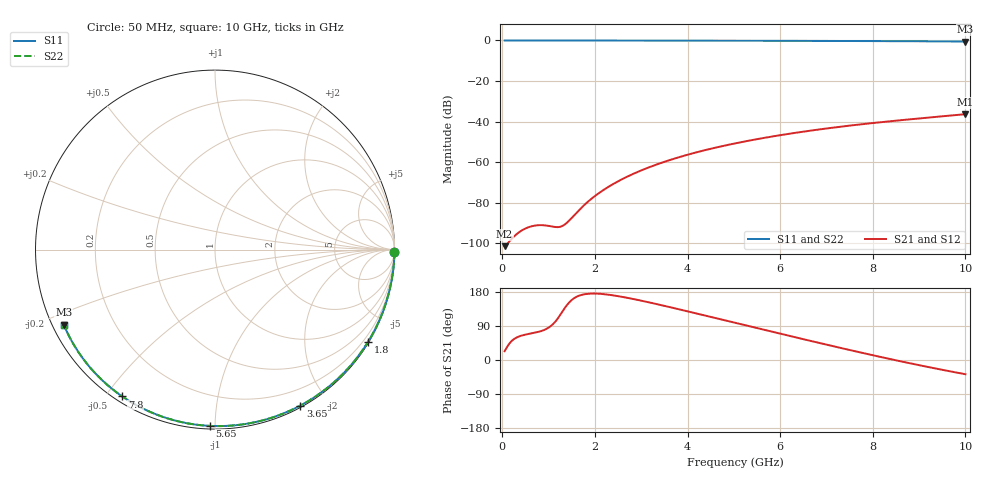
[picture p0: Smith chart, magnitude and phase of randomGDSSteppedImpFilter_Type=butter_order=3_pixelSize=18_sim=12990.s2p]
! freq	dB(S11)	phase(S11)	dB(S12)	phase(S12)
!  dB(S21)	phase(S21)	dB(S22)	phase(S22)
!S-par simulation data
#  GHz  S  DB  R 50
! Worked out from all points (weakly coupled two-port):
!   200 points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, 50 MHz to 10 GHz, reference 50 ohm
!   highest |S21| = -36.35 dB at 10 GHz (marker M1); lowest = -101.4 dB at 50 MHz (marker M2)
!   lowest |S11| = -0.5 dB at 10 GHz (marker M3), VSWR 32.77, Z = 1.61 - j11.7 ohm
!   |S11| at or under -10 dB: nowhere
!   |S22| runs from -0.5 to 0.0 dB; largest |S21 - S12| = 0
!   S11 on the Smith chart (normalised r, x): 50 MHz: open; 1.8 GHz: 0.03, -3.60; 3.65 GHz: 0.02, -1.69; 5.65 GHz: 0.02, -0.97; 7.8 GHz: 0.02, -0.55; 10 GHz: 0.03, -0.23
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0.05  -0.00 -0.9  -101.45 23.2  -101.45 23.2  -0.00 -0.9
0.45  -0.01 -7.9  -93.31 65.6  -93.31 65.6  -0.01 -7.9
0.9  -0.02 -15.7  -91.14 79.1  -91.14 79.1  -0.02 -15.7
1.75  -0.04 -30.2  -81.57 172.9  -81.57 172.9  -0.04 -30.2
1.8  -0.04 -31.0  -80.51 174.0  -80.51 174.0  -0.04 -31.0
1.85  -0.04 -31.9  -79.50 174.7  -79.50 174.7  -0.04 -31.9
2.05  -0.04 -35.2  -75.87 175.1  -75.87 175.1  -0.04 -35.2
2.2  -0.05 -37.7  -73.52 173.7  -73.52 173.7  -0.05 -37.7
2.5  -0.05 -42.7  -69.46 168.5  -69.46 168.5  -0.05 -42.7
2.9  -0.06 -49.3  -65.06 159.2  -65.06 159.2  -0.06 -49.3
3.4  -0.08 -57.3  -60.62 145.7  -60.62 145.7  -0.08 -57.3
3.65  -0.08 -61.3  -58.73 138.6  -58.73 138.6  -0.08 -61.3
4.3  -0.10 -71.5  -54.54 119.6  -54.54 119.6  -0.10 -71.5
5.05  -0.13 -82.9  -50.65 97.5  -50.65 97.5  -0.13 -82.9
5.65  -0.15 -91.7  -48.06 79.8  -48.06 79.8  -0.15 -91.7
6.15  -0.18 -99.0  -46.18 65.1  -46.18 65.1  -0.18 -99.0
6.7  -0.21 -106.8  -44.33 49.2  -44.33 49.2  -0.21 -106.8
7.25  -0.24 -114.6  -42.69 33.4  -42.69 33.4  -0.24 -114.6
7.8  -0.29 -122.3  -41.22 18.1  -41.22 18.1  -0.29 -122.3
8.35  -0.33 -129.9  -39.90 3.2  -39.90 3.2  -0.33 -129.9
9.2  -0.42 -141.9  -38.04 -18.6  -38.04 -18.6  -0.42 -141.9
10  -0.53 -153.6  -36.35 -37.5  -36.35 -37.5  -0.53 -153.6
